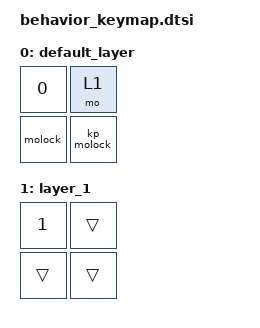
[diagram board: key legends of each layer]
/ {
    behaviors{
        kp_molock: kp_molock {
            compatible = "zmk,behavior-momentary-layer-lock";
            label = "KP_MOLOCK";
            #binding-cells = <0>;
            bindings = <&kp F>;
        };
    };

    keymap {
        compatible = "zmk,keymap";
        label ="Default keymap";

        default_layer {
            bindings = <
                &kp N0 &mo 1
                &molock &kp_molock>;
        };

        layer_1 {
            bindings = <
                &kp N1 &trans
                &trans &trans>;
        };
    };
};
